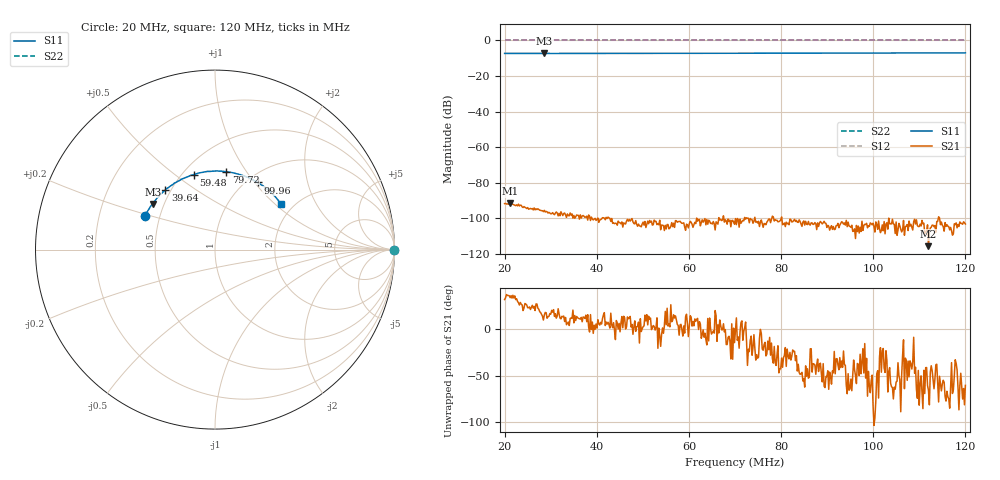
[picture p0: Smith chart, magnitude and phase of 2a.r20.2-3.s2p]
! Anritsu VNA Master:  Model: MS2036C/10/77
! SN:  1601066
! /bd0/18may26.balun/2a.r20.2.s2p
! Existing Calibration Information:
! TYPE:  Current Settings,  Active Cal Settings
! TIME:  05/26/2018 07:57:21 PM,  05/26/2018 07:26:54 PM
! INTERNAL TEMP:  45.5 C,  45.5 C
! # POINTS:  500,  500
! START FREQ:  20.000 MHz,  20.000 MHz
! STOP FREQ:  120.000 MHz,  120.000 MHz
! SOURCE POWER:  High,  High
! IFBW:  50 Hz,  50 Hz
! AVG FACTOR:  1 ,  1
! REF PLANE 1:  0 mm,  0 mm
! REF PLANE 2:  0 mm,  0 mm
! CAL TYPE:  Full S11,  Full S11
! CAL METHOD:  SOLT,  SOLT
! CAL LINE TYPE:  Coax,  Coax
! DUT PORT 1:  K-Conn(M),  K-Conn(M)
! DUT PORT 2:  K-Conn(M),  K-Conn(M)
! CAL STATUS:  OK: Accuracy High,  --
# GHZ S DB R 50.0
! FREQ.GHZ  S11DB  S11A  S21DB  S21A  S12DB  S12A  S22DB  S22A
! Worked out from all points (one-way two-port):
!   500 points, 20 MHz to 120 MHz, reference 50 ohm
!   highest |S21| = -91.57 dB at 21.2 MHz (marker M1); lowest = -115.6 dB at 112 MHz (marker M2)
!   lowest |S11| = -7.3 dB at 28.62 MHz (marker M3), VSWR 2.51, Z = 21.7 + j13.5 ohm
!   |S11| at or under -10 dB: nowhere
!   |S22| runs from 0.0 to 0.0 dB; largest |S21 - S12| = 1
!   S11 on the Smith chart (normalised r, x): 20 MHz: 0.41, +0.19; 39.64 MHz: 0.47, +0.38; 59.48 MHz: 0.57, +0.59; 79.72 MHz: 0.76, +0.81; 99.96 MHz: 1.11, +1.04; 120 MHz: 1.73, +1.10
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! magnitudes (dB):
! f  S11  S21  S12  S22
! 20 MHz  -7.3  -91.7  0.0  0.0
! 21.2 MHz  -7.3  -91.6  0.0  0.0
! 28.62 MHz  -7.3  -95.5  0.0  0.0
! 32.63 MHz  -7.3  -98.4  0.0  0.0
! 36.83 MHz  -7.3  -98.7  0.0  0.0
! 39.64 MHz  -7.3  -100.0  0.0  0.0
! 41.04 MHz  -7.3  -100.3  0.0  0.0
! 42.44 MHz  -7.3  -99.3  0.0  0.0
! 45.05 MHz  -7.3  -102.5  0.0  0.0
! 46.45 MHz  -7.2  -101.5  0.0  0.0
! 47.86 MHz  -7.3  -102.0  0.0  0.0
! 51.86 MHz  -7.2  -101.6  0.0  0.0
! 53.47 MHz  -7.3  -103.6  0.0  0.0
! 59.48 MHz  -7.2  -103.3  0.0  0.0
! 67.9 MHz  -7.2  -100.8  0.0  0.0
! 70.1 MHz  -7.2  -100.1  0.0  0.0
! 79.72 MHz  -7.2  -101.5  0.0  0.0
! 86.73 MHz  -7.1  -102.5  0.0  0.0
! 99.96 MHz  -7.1  -102.7  0.0  0.0
! 103.4 MHz  -7.1  -99.9  0.0  0.0
! 112 MHz  -7.0  -115.6  0.0  0.0
! 120 MHz  -7.0  -103.2  0.0  0.0
